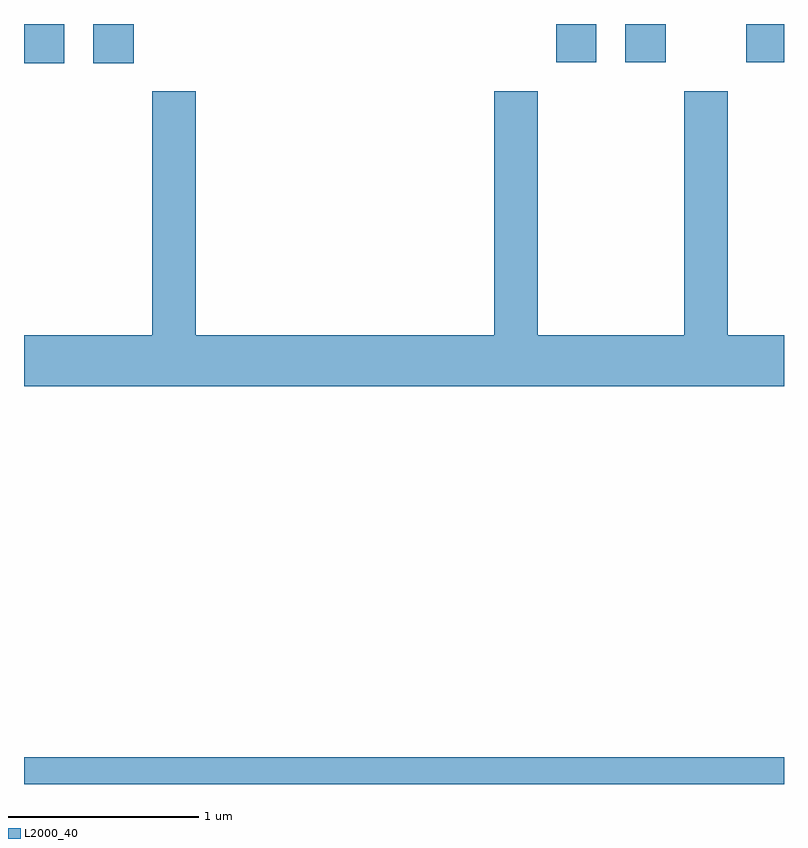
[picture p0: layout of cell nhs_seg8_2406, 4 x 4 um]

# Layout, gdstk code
import gdstk
lib = gdstk.Library(unit=1e-6, precision=1e-09)
def R(c, l, rs):  # rectangles x0, y0, x1, y1
    for r in rs: c.add(gdstk.rectangle(r[:2], r[2:], *l))
def P(c, l, *ps):  # polygons
    for p in ps: c.add(gdstk.Polygon(p, *l))
L2000_40 = (2000, 40)

nhs_seg8_2406 = lib.new_cell('nhs_seg8_2406')
R(nhs_seg8_2406, L2000_40, [(257.611,1814.342,261.611,1814.484), (257.611,1818.136,257.824,1818.342), (257.976,1818.136,258.189,1818.342), (260.411,1818.141,260.624,1818.342), (260.776,1818.141,260.989,1818.342), (261.411,1818.141,261.611,1818.342)])
P(nhs_seg8_2406, L2000_40, [(261.611,1816.704),(261.314,1816.704),(261.314,1817.989),(261.086,1817.989),(261.086,1816.704),(260.314,1816.704),(260.314,1817.989),(260.086,1817.989),(260.086,1816.704),(258.514,1816.704),(258.514,1817.989),(258.286,1817.989),(258.286,1816.704),(257.611,1816.704),(257.611,1816.436),(261.611,1816.436)])

lib.write_gds('nhs_seg8_2406.gds')
